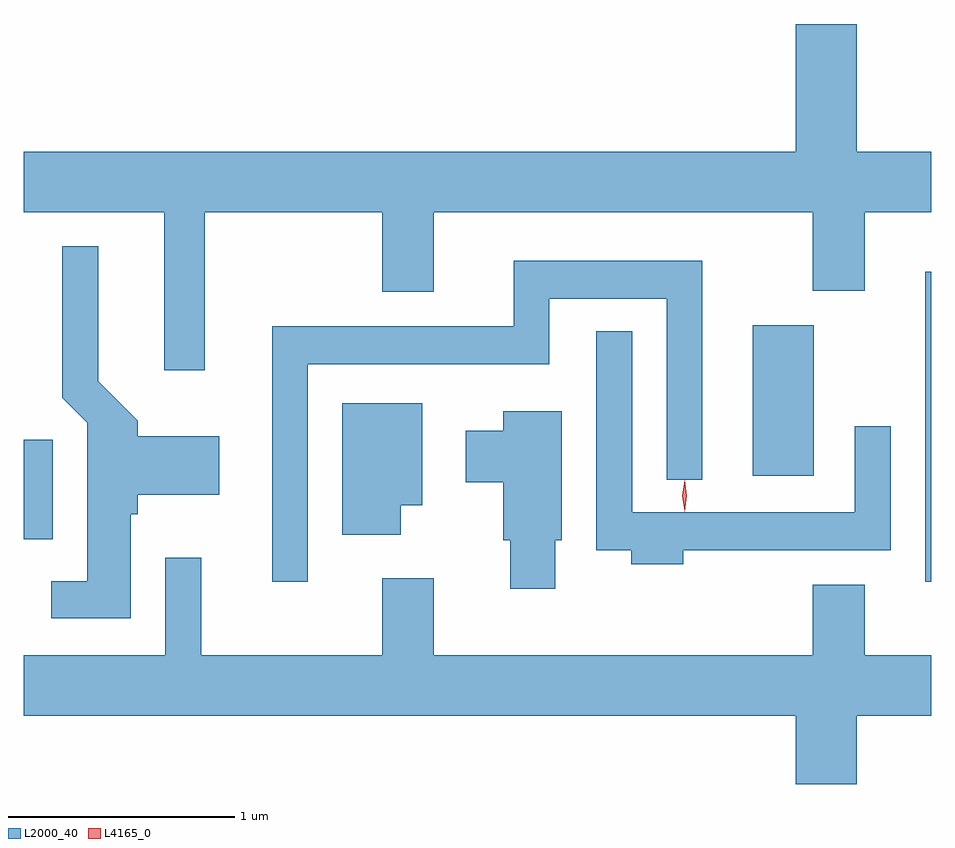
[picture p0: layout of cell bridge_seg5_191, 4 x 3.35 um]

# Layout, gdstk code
import gdstk
lib = gdstk.Library(unit=1e-6, precision=1e-09)
def R(c, l, rs):  # rectangles x0, y0, x1, y1
    for r in rs: c.add(gdstk.rectangle(r[:2], r[2:], *l))
def P(c, l, *ps):  # polygons
    for p in ps: c.add(gdstk.Polygon(p, *l))
L2000_40 = (2000, 40)
L4165_0 = (4165, 0)

bridge_seg5_191 = lib.new_cell('bridge_seg5_191')
R(bridge_seg5_191, L2000_40, [(1314.546,1428.528,1314.572,1429.894), (1310.572,1428.716,1310.699,1429.153), (1313.786,1428.996,1314.054,1429.659)])
P(bridge_seg5_191, L2000_40, [(1311.369,1430.156),(1312.151,1430.156),(1312.151,1429.806),(1312.379,1429.806),(1312.379,1430.156),(1314.051,1430.156),(1314.051,1429.811),(1314.279,1429.811),(1314.279,1430.156),(1314.572,1430.156),(1314.572,1430.424),(1314.244,1430.424),(1314.244,1430.987),(1313.976,1430.987),(1313.976,1430.424),(1310.572,1430.424),(1310.572,1430.156),(1311.191,1430.156),(1311.191,1429.461),(1311.369,1429.461)],
  [(1311.044,1428.826),(1311.074,1428.826),(1311.074,1428.911),(1311.434,1428.911),(1311.434,1429.169),(1311.074,1429.169),(1311.074,1429.237),(1310.899,1429.412),(1310.899,1430.008),(1310.741,1430.008),(1310.741,1429.339),(1310.851,1429.229),(1310.851,1428.529),(1310.693,1428.529),(1310.693,1428.366),(1311.044,1428.366)],
  [(1311.824,1429.486),(1312.889,1429.486),(1312.889,1429.776),(1313.406,1429.776),(1313.406,1428.978),(1313.564,1428.978),(1313.564,1429.944),(1312.731,1429.944),(1312.731,1429.654),(1311.666,1429.654),(1311.666,1428.528),(1311.824,1428.528)],
  [(1313.479,1428.666),(1314.394,1428.666),(1314.394,1429.213),(1314.236,1429.213),(1314.236,1428.834),(1313.254,1428.834),(1313.254,1429.633),(1313.096,1429.633),(1313.096,1428.666),(1313.251,1428.666),(1313.251,1428.606),(1313.479,1428.606)],
  [(1312.234,1428.866),(1312.329,1428.866),(1312.329,1429.314),(1311.976,1429.314),(1311.976,1428.736),(1312.234,1428.736)],
  [(1312.914,1428.711),(1312.944,1428.711),(1312.944,1429.279),(1312.686,1429.279),(1312.686,1429.194),(1312.521,1429.194),(1312.521,1428.966),(1312.686,1428.966),(1312.686,1428.711),(1312.716,1428.711),(1312.716,1428.496),(1312.914,1428.496)],
  [(1314.244,1427.936),(1314.572,1427.936),(1314.572,1428.204),(1314.279,1428.204),(1314.279,1428.514),(1314.051,1428.514),(1314.051,1428.204),(1312.379,1428.204),(1312.379,1428.544),(1312.151,1428.544),(1312.151,1428.204),(1311.354,1428.204),(1311.354,1428.633),(1311.196,1428.633),(1311.196,1428.204),(1310.572,1428.204),(1310.572,1427.936),(1313.976,1427.936),(1313.976,1427.636),(1314.244,1427.636)])
P(bridge_seg5_191, L4165_0, [(1313.485,1428.837),(1313.485,1428.838),(1313.475,1428.907),(1313.485,1428.976),(1313.485,1428.976),(1313.486,1428.976),(1313.495,1428.907),(1313.486,1428.838)],
  [(1313.485,1428.839),(1313.485,1428.84),(1313.475,1428.906),(1313.485,1428.972),(1313.485,1428.973),(1313.486,1428.972),(1313.495,1428.906),(1313.486,1428.84)])

lib.write_gds('bridge_seg5_191.gds')
